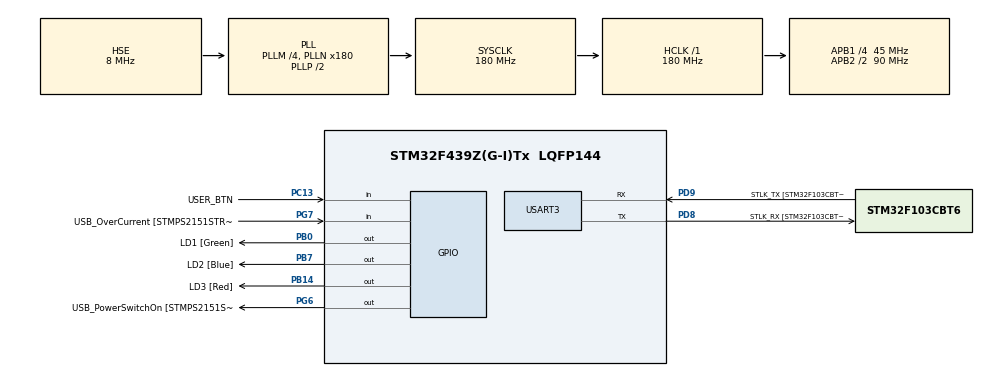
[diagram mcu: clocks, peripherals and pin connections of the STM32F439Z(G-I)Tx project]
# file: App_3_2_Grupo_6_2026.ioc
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Mcu.Family=STM32F4
Mcu.Name=STM32F439Z(G-I)Tx
Mcu.Package=LQFP144
NVIC.PriorityGroup=NVIC_PRIORITYGROUP_4
PA13.GPIO_Label=TMS
PA13.Mode=Serial_Wire
PA13.Signal=SYS_JTMS-SWDIO
PA14.GPIO_Label=TCK
PA14.Mode=Serial_Wire
PA14.Signal=SYS_JTCK-SWCLK
PB0.GPIO_Label=LD1 [Green]
PB0.Signal=GPIO_Output
PB14.GPIO_Label=LD3 [Red]
PB14.Signal=GPIO_Output
PB7.GPIO_Label=LD2 [Blue]
PB7.Signal=GPIO_Output
PC13.GPIO_Label=USER_BTN
PC13.Signal=GPIO_Input
PC14/OSC32_IN.Mode=LSE-External-Oscillator
PC14/OSC32_IN.Signal=RCC_OSC32_IN
PC15/OSC32_OUT.Mode=LSE-External-Oscillator
PC15/OSC32_OUT.Signal=RCC_OSC32_OUT
PD8.GPIO_Label=STLK_RX [STM32F103CBT6_PA3]
PD8.Mode=Asynchronous
PD8.Signal=USART3_TX
PD9.GPIO_Label=STLK_TX [STM32F103CBT6_PA2]
PD9.Mode=Asynchronous
PD9.Signal=USART3_RX
PG6.GPIO_Label=USB_PowerSwitchOn [STMPS2151STR_EN]
PG6.Signal=GPIO_Output
PG7.GPIO_Label=USB_OverCurrent [STMPS2151STR_FAULT]
PG7.Signal=GPIO_Input
PH0/OSC_IN.GPIO_Label=MCO [STM32F103CBT6_PA8]
PH0/OSC_IN.Mode=HSE-External-Clock-Source
PH0/OSC_IN.Signal=RCC_OSC_IN
PH1/OSC_OUT.Mode=HSE-External-Clock-Source
PH1/OSC_OUT.Signal=RCC_OSC_OUT
ProjectManager.HeapSize=0x200
ProjectManager.StackSize=0x400
ProjectManager.TargetToolchain=STM32CubeIDE
RCC.48MHZClocksFreq_Value=51428571.428571425
RCC.AHBFreq_Value=180000000
RCC.APB1CLKDivider=RCC_HCLK_DIV4
RCC.APB1Freq_Value=45000000
RCC.APB1TimFreq_Value=90000000
RCC.APB2CLKDivider=RCC_HCLK_DIV2
RCC.APB2Freq_Value=90000000
RCC.APB2TimFreq_Value=180000000
RCC.CortexFreq_Value=180000000
RCC.HCLKFreq_Value=180000000
RCC.HSE_VALUE=8000000
RCC.HSI_VALUE=16000000
RCC.PLLM=4
RCC.PLLMUL=RCC_PLL_MUL9
RCC.PLLN=180
RCC.PLLQ=7
RCC.PLLSourceVirtual=RCC_PLLSOURCE_HSE
RCC.PRESCALERUSB=RCC_USBCLKSOURCE_PLL_DIV1_5
RCC.SYSCLKFreq_VALUE=180000000
RCC.SYSCLKSource=RCC_SYSCLKSOURCE_PLLCLK
RCC.SYSCLKSourceVirtual=RCC_SYSCLKSOURCE_PLLCLK
RCC.USBFreq_Value=48000000
RCC.VCOOutputFreq_Value=360000000
USART3.VirtualMode=VM_ASYNC
board=NUCLEO-F439ZI

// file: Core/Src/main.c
/* USER CODE BEGIN Header */
/**
 ******************************************************************************
 * @file           : main.c
 * @brief          : Main program body
 ******************************************************************************
 * @attention
 *
 * Copyright (c) 2026 STMicroelectronics.
 * All rights reserved.
 *
 * This software is licensed under terms that can be found in the LICENSE file
 * in the root directory of this software component.
 * If no LICENSE file comes with this software, it is provided AS-IS.
 *
 ******************************************************************************
 */
/* USER CODE END Header */
#include "main.h"

/* USER CODE BEGIN Includes */
#include "driver_led.h"
#include "driver_led_pal.h"
#include "driver_boton.h"
#include "driver_boton_pal.h"
#include "driver_time.h"
#include "stdbool.h"
/* USER CODE END Includes */

/* USER CODE BEGIN PTD */

/** * @brief Definición de estados para la MEF.
 */
typedef enum{
	Estado_Encendido = 0,
	Estado_Apagado
} Estado_t;

/* USER CODE END PTD */

UART_HandleTypeDef huart3;

/* USER CODE BEGIN PV */

// Índices lógicos para identificar todos los botones a utilizar
#define INDICE_BTN_USER 0

// Tablas físicas asociadas a la estructura PAL de los drivers

//Tabla para Botones
static const BOTON_Hardware_t tabla_botones_hw[] = {
    [INDICE_BTN_USER] = {USER_BTN_GPIO_Port, USER_BTN_Pin, BOTON_ACTIVO_ALTO}
};
static const uint8_t cant_botones = sizeof(tabla_botones_hw) / sizeof(tabla_botones_hw[0]);

//Tabla para leds
static const LED_Hardware_t tabla_leds_hardware[] = {
    {LD1_GPIO_Port, LD1_Pin},
    {LD2_GPIO_Port, LD2_Pin},
    {LD3_GPIO_Port, LD3_Pin}
};
static const uint8_t total_leds = sizeof(tabla_leds_hardware) / sizeof(tabla_leds_hardware[0]);

static const uint32_t tiempo_alternancia = 200;
static int8_t indice_led = 0;
static Estado_t estado_mef = Estado_Encendido;
static int8_t sentido = 1;

/* USER CODE END PV */

void SystemClock_Config(void);
static void MX_GPIO_Init(void);
static void MX_USART3_UART_Init(void);

int main(void)
{

  /* MCU Configuration--------------------------------------------------------*/

  /* Reset of all peripherals, Initializes the Flash interface and the Systick. */
  HAL_Init();

  /* Configure the system clock */
  SystemClock_Config();

  /* Initialize all configured peripherals */
  MX_GPIO_Init();
  MX_USART3_UART_Init();
  /* USER CODE BEGIN 2 */

  LED_Init(tabla_leds_hardware, total_leds);
  BOTON_Init(tabla_botones_hw, cant_botones);

  /* USER CODE END 2 */

  /* Infinite loop */
	while (1)
	{

    /* USER CODE BEGIN 3 */

		/* 1. Detección de flanco (Usa el driver genérico del botón afuera del switch) */
		        if (BOTON_DetectarFlancoPresionado(INDICE_BTN_USER)) {
		            sentido *= -1; // Inversión de dirección instantánea
		        }

		        /* 2. Máquina de Estados Finitos clásica bloqueante */
		        switch (estado_mef) {

		        case Estado_Encendido:
		            LED_Write(indice_led, true);
		            TIME_DelayMS(tiempo_alternancia); // Reemplaza a HAL_Delay
		            estado_mef = Estado_Apagado;
		            break;

		        case Estado_Apagado:
		            LED_Write(indice_led, false);
		            TIME_DelayMS(tiempo_alternancia);

		            // Actualización del índice considerando la dirección actual
		            indice_led += sentido;

		            // Lógica circular adaptada a las funciones de tu driver
		            if (indice_led >= LED_GetCount()) {
		                indice_led = 0;
		            } else if (indice_led < 0) {
		                indice_led = LED_GetCount() - 1;
		            }

		            estado_mef = Estado_Encendido;
		            break;

		        default:
		            for (uint8_t j = 0; j < LED_GetCount(); j++) {
		                LED_Write(j, false);
		            }
		            estado_mef = Estado_Encendido;
		            indice_led = 0;
		            break;
		        }

	}
  /* USER CODE END 3 */
}

void SystemClock_Config(void)
{
  RCC_OscInitTypeDef RCC_OscInitStruct = {0};
  RCC_ClkInitTypeDef RCC_ClkInitStruct = {0};

  /** Configure the main internal regulator output voltage
  */
  __HAL_RCC_PWR_CLK_ENABLE();
  __HAL_PWR_VOLTAGESCALING_CONFIG(PWR_REGULATOR_VOLTAGE_SCALE1);

  /** Initializes the RCC Oscillators according to the specified parameters
  * in the RCC_OscInitTypeDef structure.
  */
  RCC_OscInitStruct.OscillatorType = RCC_OSCILLATORTYPE_HSE;
  RCC_OscInitStruct.HSEState = RCC_HSE_BYPASS;
  RCC_OscInitStruct.PLL.PLLState = RCC_PLL_ON;
  RCC_OscInitStruct.PLL.PLLSource = RCC_PLLSOURCE_HSE;
  RCC_OscInitStruct.PLL.PLLM = 4;
  RCC_OscInitStruct.PLL.PLLN = 180;
  RCC_OscInitStruct.PLL.PLLP = RCC_PLLP_DIV2;
  RCC_OscInitStruct.PLL.PLLQ = 7;
  if (HAL_RCC_OscConfig(&RCC_OscInitStruct) != HAL_OK)
  {
    Error_Handler();
  }

  /** Activate the Over-Drive mode
  */
  if (HAL_PWREx_EnableOverDrive() != HAL_OK)
  {
    Error_Handler();
  }

  /** Initializes the CPU, AHB and APB buses clocks
  */
  RCC_ClkInitStruct.ClockType = RCC_CLOCKTYPE_HCLK|RCC_CLOCKTYPE_SYSCLK
                              |RCC_CLOCKTYPE_PCLK1|RCC_CLOCKTYPE_PCLK2;
  RCC_ClkInitStruct.SYSCLKSource = RCC_SYSCLKSOURCE_PLLCLK;
  RCC_ClkInitStruct.AHBCLKDivider = RCC_SYSCLK_DIV1;
  RCC_ClkInitStruct.APB1CLKDivider = RCC_HCLK_DIV4;
  RCC_ClkInitStruct.APB2CLKDivider = RCC_HCLK_DIV2;

  if (HAL_RCC_ClockConfig(&RCC_ClkInitStruct, FLASH_LATENCY_5) != HAL_OK)
  {
    Error_Handler();
  }
}

static void MX_USART3_UART_Init(void)
{

  huart3.Instance = USART3;
  huart3.Init.BaudRate = 115200;
  huart3.Init.WordLength = UART_WORDLENGTH_8B;
  huart3.Init.StopBits = UART_STOPBITS_1;
  huart3.Init.Parity = UART_PARITY_NONE;
  huart3.Init.Mode = UART_MODE_TX_RX;
  huart3.Init.HwFlowCtl = UART_HWCONTROL_NONE;
  huart3.Init.OverSampling = UART_OVERSAMPLING_16;
  if (HAL_UART_Init(&huart3) != HAL_OK)
  {
    Error_Handler();
  }

}

static void MX_GPIO_Init(void)
{
  GPIO_InitTypeDef GPIO_InitStruct = {0};

  /* GPIO Ports Clock Enable */
  __HAL_RCC_GPIOC_CLK_ENABLE();
  __HAL_RCC_GPIOH_CLK_ENABLE();
  __HAL_RCC_GPIOB_CLK_ENABLE();
  __HAL_RCC_GPIOD_CLK_ENABLE();
  __HAL_RCC_GPIOG_CLK_ENABLE();
  __HAL_RCC_GPIOA_CLK_ENABLE();

  /*Configure GPIO pin Output Level */
  HAL_GPIO_WritePin(GPIOB, LD1_Pin|LD3_Pin|LD2_Pin, GPIO_PIN_RESET);

  /*Configure GPIO pin Output Level */
  HAL_GPIO_WritePin(USB_PowerSwitchOn_GPIO_Port, USB_PowerSwitchOn_Pin, GPIO_PIN_RESET);

  /*Configure GPIO pin : USER_BTN_Pin */
  GPIO_InitStruct.Pin = USER_BTN_Pin;
  GPIO_InitStruct.Mode = GPIO_MODE_INPUT;
  GPIO_InitStruct.Pull = GPIO_NOPULL;
  HAL_GPIO_Init(USER_BTN_GPIO_Port, &GPIO_InitStruct);

  /*Configure GPIO pins : LD1_Pin LD3_Pin LD2_Pin */
  GPIO_InitStruct.Pin = LD1_Pin|LD3_Pin|LD2_Pin;
  GPIO_InitStruct.Mode = GPIO_MODE_OUTPUT_PP;
  GPIO_InitStruct.Pull = GPIO_NOPULL;
  GPIO_InitStruct.Speed = GPIO_SPEED_FREQ_LOW;
  HAL_GPIO_Init(GPIOB, &GPIO_InitStruct);

  /*Configure GPIO pin : USB_PowerSwitchOn_Pin */
  GPIO_InitStruct.Pin = USB_PowerSwitchOn_Pin;
  GPIO_InitStruct.Mode = GPIO_MODE_OUTPUT_PP;
  GPIO_InitStruct.Pull = GPIO_NOPULL;
  GPIO_InitStruct.Speed = GPIO_SPEED_FREQ_LOW;
  HAL_GPIO_Init(USB_PowerSwitchOn_GPIO_Port, &GPIO_InitStruct);

  /*Configure GPIO pin : USB_OverCurrent_Pin */
  GPIO_InitStruct.Pin = USB_OverCurrent_Pin;
  GPIO_InitStruct.Mode = GPIO_MODE_INPUT;
  GPIO_InitStruct.Pull = GPIO_NOPULL;
  HAL_GPIO_Init(USB_OverCurrent_GPIO_Port, &GPIO_InitStruct);

}

void Error_Handler(void)
{
	__disable_irq();
	while (1)
	{
	}
}
